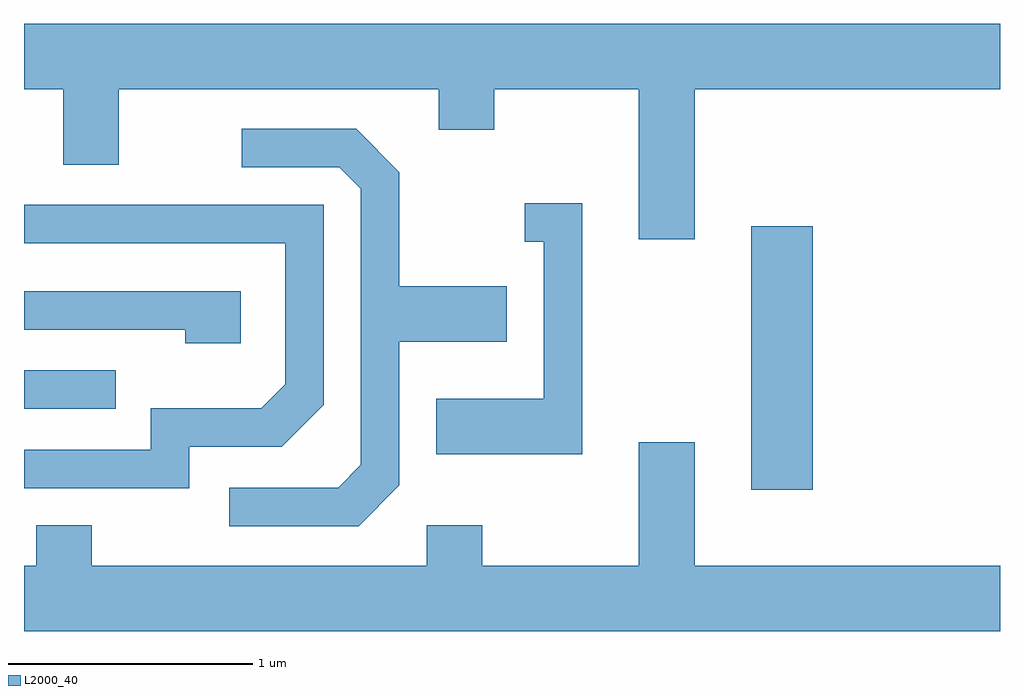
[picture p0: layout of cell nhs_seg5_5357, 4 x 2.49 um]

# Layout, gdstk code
import gdstk
lib = gdstk.Library(unit=1e-6, precision=1e-09)
def R(c, l, rs):  # rectangles x0, y0, x1, y1
    for r in rs: c.add(gdstk.rectangle(r[:2], r[2:], *l))
def P(c, l, *ps):  # polygons
    for p in ps: c.add(gdstk.Polygon(p, *l))
L2000_40 = (2000, 40)

nhs_seg5_5357 = lib.new_cell('nhs_seg5_5357')
R(nhs_seg5_5357, L2000_40, [(346.591,1481.796,346.844,1482.874), (343.611,1482.126,343.988,1482.284)])
P(nhs_seg5_5357, L2000_40, [(346.359,1483.436),(347.611,1483.436),(347.611,1483.704),(343.611,1483.704),(343.611,1483.436),(343.771,1483.436),(343.771,1483.126),(343.999,1483.126),(343.999,1483.436),(345.311,1483.436),(345.311,1483.271),(345.539,1483.271),(345.539,1483.436),(346.131,1483.436),(346.131,1482.821),(346.359,1482.821)],
  [(345.149,1481.814),(345.149,1482.401),(345.589,1482.401),(345.589,1482.629),(345.149,1482.629),(345.149,1483.097),(344.972,1483.274),(344.503,1483.274),(344.503,1483.116),(344.904,1483.116),(344.991,1483.029),(344.991,1481.897),(344.899,1481.804),(344.453,1481.804),(344.453,1481.646),(344.982,1481.646)],
  [(345.899,1482.969),(345.663,1482.969),(345.663,1482.811),(345.741,1482.811),(345.741,1482.169),(345.301,1482.169),(345.301,1481.941),(345.899,1481.941)],
  [(344.289,1481.971),(344.667,1481.971),(344.839,1482.144),(344.839,1482.964),(343.611,1482.964),(343.611,1482.806),(344.681,1482.806),(344.681,1482.227),(344.584,1482.129),(344.131,1482.129),(344.131,1481.959),(343.611,1481.959),(343.611,1481.801),(344.289,1481.801)],
  [(344.499,1482.609),(343.611,1482.609),(343.611,1482.451),(344.271,1482.451),(344.271,1482.396),(344.499,1482.396)],
  [(347.611,1481.484),(346.359,1481.484),(346.359,1481.989),(346.131,1481.989),(346.131,1481.484),(345.489,1481.484),(345.489,1481.649),(345.261,1481.649),(345.261,1481.484),(343.889,1481.484),(343.889,1481.649),(343.661,1481.649),(343.661,1481.484),(343.611,1481.484),(343.611,1481.216),(347.611,1481.216)])

lib.write_gds('nhs_seg5_5357.gds')
